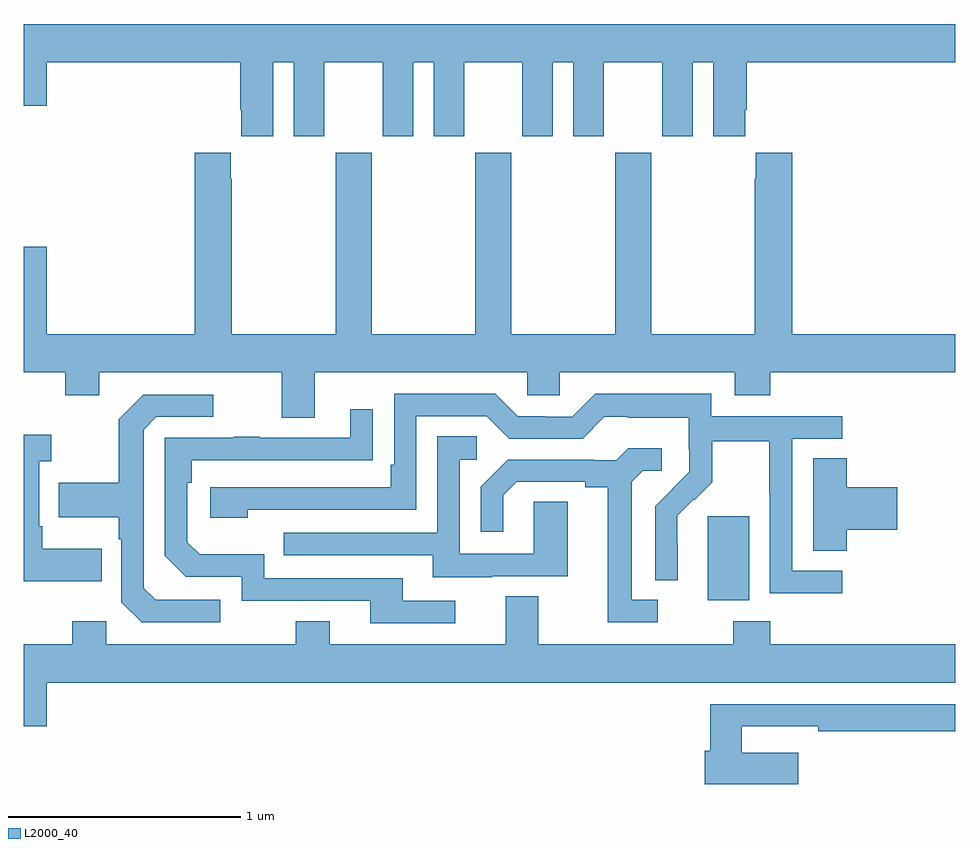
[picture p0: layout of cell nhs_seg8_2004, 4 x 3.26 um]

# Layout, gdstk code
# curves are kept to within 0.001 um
import gdstk
lib = gdstk.Library(unit=1e-6, precision=1e-09)
def R(c, l, rs):  # rectangles x0, y0, x1, y1
    for r in rs: c.add(gdstk.rectangle(r[:2], r[2:], *l))
def P(c, l, *ps):  # polygons
    for p in ps: c.add(gdstk.Polygon(p, *l))
L2000_40 = (2000, 40)

nhs_seg8_2004 = lib.new_cell('nhs_seg8_2004')
R(nhs_seg8_2004, L2000_40, [(239.936,1136.834,240.115,1137.195)])
P(nhs_seg8_2004, L2000_40, [(238.072,1139.144),(238.16,1139.144),(238.16,1138.827),(238.291,1138.827),(238.291,1139.144),(238.541,1139.144),(238.541,1138.827),(238.672,1138.827),(238.672,1139.144),(238.76,1139.144),(238.76,1138.827),(238.891,1138.827),(238.891,1139.144),(239.141,1139.144),(239.141,1138.827),(239.272,1138.827),(239.272,1139.144),(239.36,1139.144),(239.36,1138.827),(239.491,1138.827),(239.491,1139.144),(239.741,1139.144),(239.741,1138.827),(239.872,1138.827),(239.872,1139.144),(239.96,1139.144),(239.96,1138.827),(240.097,1138.827),(240.097,1138.939),(240.104,1138.939),(240.104,1139.144),(241,1139.144),(241,1139.308),(237,1139.308),(237,1138.956),(237.1,1138.956),(237.1,1139.144),(237.929,1139.144),(237.929,1138.939),(237.935,1138.939),(237.935,1138.827),(238.072,1138.827)],
  [(238.249,1137.812),(239.163,1137.812),(239.163,1137.714),(239.301,1137.714),(239.301,1137.812),(240.053,1137.812),(240.053,1137.713),(240.206,1137.713),(240.206,1137.812),(241,1137.812),(241,1137.976),(240.299,1137.976),(240.299,1138.756),(240.143,1138.756),(240.143,1138.643),(240.139,1138.643),(240.139,1137.976),(239.694,1137.976),(239.694,1138.756),(239.539,1138.756),(239.539,1137.976),(239.094,1137.976),(239.094,1138.756),(238.939,1138.756),(238.939,1137.976),(238.494,1137.976),(238.494,1138.756),(238.339,1138.756),(238.339,1137.976),(237.894,1137.976),(237.894,1138.643),(237.889,1138.643),(237.889,1138.756),(237.734,1138.756),(237.734,1137.976),(237.1,1137.976),(237.1,1138.351),(237,1138.351),(237,1137.812),(237.178,1137.812),(237.178,1137.713),(237.325,1137.713),(237.325,1137.812),(238.109,1137.812),(238.109,1137.618),(238.249,1137.618)],
  [(240.514,1136.961),(240.3,1136.961),(240.3,1137.528),(240.514,1137.528),(240.514,1137.624),(239.952,1137.624),(239.952,1137.721),(239.455,1137.721),(239.355,1137.621),(239.24,1137.621),(239.24,1137.624),(239.121,1137.624),(239.025,1137.72),(238.59,1137.72),(238.59,1137.415),(238.577,1137.415),(238.577,1137.318),(237.801,1137.318),(237.801,1137.188),(237.962,1137.188),(237.962,1137.222),(238.686,1137.222),(238.686,1137.624),(238.989,1137.624),(239.085,1137.528),(239.4,1137.528),(239.493,1137.621),(239.593,1137.621),(239.593,1137.617),(239.856,1137.617),(239.856,1137.483),(239.858,1137.483),(239.858,1137.386),(239.712,1137.238),(239.712,1136.92),(239.808,1136.92),(239.807,1137.197),(239.877,1137.267),(239.88,1137.264),(239.957,1137.341),(239.957,1137.516),(240.202,1137.516),(240.202,1137.292),(240.204,1137.292),(240.204,1136.863),(240.514,1136.863)],
  [(237.844,1136.835),(237.567,1136.835),(237.516,1136.886),(237.516,1137.567),(237.57,1137.621),(237.814,1137.621),(237.814,1137.717),(237.513,1137.717),(237.408,1137.611),(237.408,1137.339),(237.151,1137.339),(237.151,1137.191),(237.408,1137.191),(237.408,1137.095),(237.42,1137.095),(237.42,1136.826),(237.507,1136.739),(237.844,1136.739)],
  [(238.852,1136.832),(238.627,1136.832),(238.627,1136.928),(238.032,1136.928),(238.032,1137.031),(237.755,1137.031),(237.702,1137.084),(237.702,1137.338),(237.722,1137.338),(237.722,1137.435),(238.499,1137.436),(238.499,1137.655),(238.403,1137.655),(238.403,1137.531),(238.013,1137.531),(238.013,1137.536),(237.901,1137.536),(237.901,1137.531),(237.606,1137.531),(237.606,1137.024),(237.696,1136.934),(237.936,1136.934),(237.936,1136.832),(238.487,1136.832),(238.487,1136.736),(238.852,1136.736)],
  [(237.335,1137.055),(237.079,1137.055),(237.079,1137.151),(237.066,1137.151),(237.066,1137.431),(237.118,1137.431),(237.118,1137.544),(237,1137.544),(237,1136.915),(237.335,1136.915)],
  [(239.011,1136.937),(239.335,1136.937),(239.335,1137.257),(239.19,1137.257),(239.19,1137.033),(238.872,1137.033),(238.872,1137.438),(238.945,1137.438),(238.945,1137.539),(238.776,1137.539),(238.776,1137.123),(238.117,1137.123),(238.117,1137.027),(238.757,1137.027),(238.757,1136.933),(239.011,1136.933)],
  [(239.722,1136.835),(239.611,1136.835),(239.611,1137.343),(239.658,1137.39),(239.74,1137.39),(239.74,1137.487),(239.596,1137.487),(239.544,1137.435),(239.45,1137.435),(239.45,1137.438),(239.078,1137.438),(238.962,1137.322),(238.962,1137.129),(239.059,1137.129),(239.059,1137.285),(239.116,1137.342),(239.411,1137.342),(239.411,1137.32),(239.507,1137.32),(239.507,1136.739),(239.722,1136.739)],
  [(240.533,1137.137),(240.751,1137.137),(240.751,1137.32),(240.533,1137.32),(240.533,1137.443),(240.389,1137.443),(240.389,1137.046),(240.533,1137.046)],
  [(237.1,1136.48),(241,1136.48),(241,1136.644),(240.206,1136.644),(240.206,1136.743),(240.046,1136.743),(240.046,1136.644),(239.209,1136.644),(239.209,1136.852),(239.069,1136.852),(239.069,1136.644),(238.315,1136.644),(238.315,1136.743),(238.168,1136.743),(238.168,1136.644),(237.354,1136.644),(237.354,1136.743),(237.208,1136.743),(237.208,1136.644),(237,1136.644),(237,1136.292),(237.1,1136.292)],
  [(240.325,1136.179),(240.083,1136.179),(240.083,1136.292),(240.412,1136.292),(240.412,1136.272),(241,1136.272),(241,1136.388),(239.947,1136.388),(239.947,1136.187),(239.924,1136.187),(239.924,1136.045),(240.325,1136.045)])

lib.write_gds('nhs_seg8_2004.gds')
